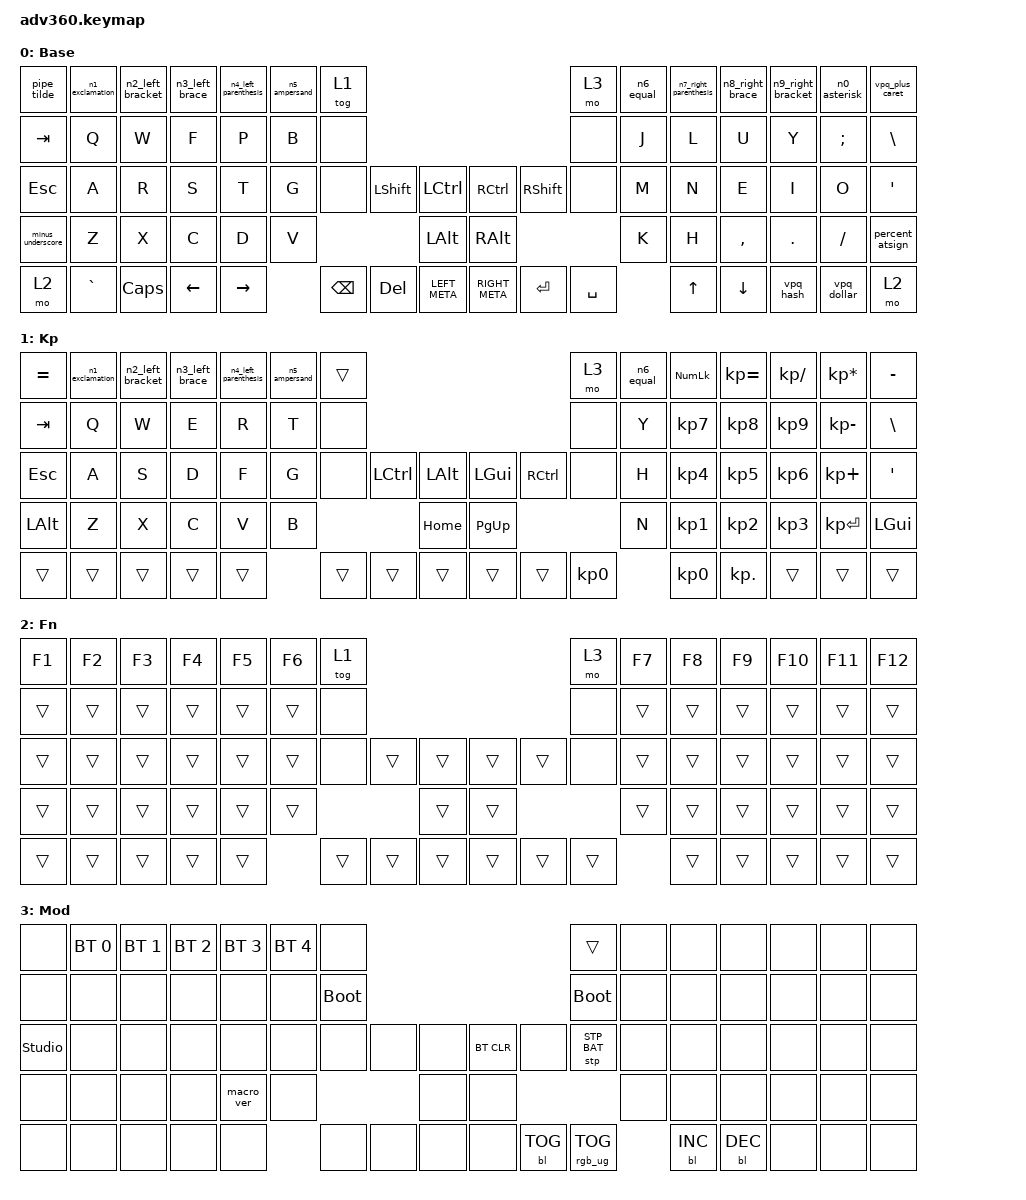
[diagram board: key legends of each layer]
#include <dt-bindings/zmk/stp.h>
#include <behaviors.dtsi>
#include <dt-bindings/zmk/backlight.h>
#include <dt-bindings/zmk/bt.h>
#include <dt-bindings/zmk/keys.h>
#include <dt-bindings/zmk/rgb.h>

/ {
    behaviors {
        #include "macros.dtsi"
        #include "version.dtsi"

        hm: homerow_mods {
            compatible = "zmk,behavior-hold-tap";
            label = "HOMEROW_MODS";
            #binding-cells = <2>;
            tapping-term-ms = <200>;
            quick_tap_ms = <175>;
            flavor = "tap-preferred";
            bindings = <&kp>, <&kp>;
        };

        // Mod‑Morph macros from Glove80

        n1_exclamation: n1_exclamation {
            compatible = "zmk,behavior-mod-morph";
            label = "n1_exclamation";
            #binding-cells = <0>;
            bindings = <&kp EXCLAMATION>, <&kp N1>;

            mods = <(MOD_LSFT|MOD_RSFT)>;
        };

        n2_left_bracket: n2_left_bracket {
            compatible = "zmk,behavior-mod-morph";
            label = "n2_left_bracket";
            #binding-cells = <0>;
            bindings = <&kp LEFT_BRACKET>, <&kp N2>;

            mods = <(MOD_LSFT|MOD_RSFT)>;
        };

        n3_left_brace: n3_left_brace {
            compatible = "zmk,behavior-mod-morph";
            label = "n3_left_brace";
            #binding-cells = <0>;
            bindings = <&kp LEFT_BRACE>, <&kp N3>;

            mods = <(MOD_LSFT|MOD_RSFT)>;
        };

        n4_left_parenthesis: n4_left_parenthesis {
            compatible = "zmk,behavior-mod-morph";
            label = "n4_left_parenthesis";
            #binding-cells = <0>;
            bindings = <&kp LEFT_PARENTHESIS>, <&kp N4>;

            mods = <(MOD_LSFT|MOD_RSFT)>;
        };

        n5_ampersand: n5_ampersand {
            compatible = "zmk,behavior-mod-morph";
            label = "n5_ampersand";
            #binding-cells = <0>;
            bindings = <&kp AMPERSAND>, <&kp N5>;

            mods = <(MOD_LSFT|MOD_RSFT)>;
        };

        n6_equal: n6_equal {
            compatible = "zmk,behavior-mod-morph";
            label = "n6_equal";
            #binding-cells = <0>;
            bindings = <&kp EQUAL>, <&kp N6>;

            mods = <(MOD_LSFT|MOD_RSFT)>;
        };

        n7_right_parenthesis: n7_right_parenthesis {
            compatible = "zmk,behavior-mod-morph";
            label = "n7_right_parenthesis";
            #binding-cells = <0>;
            bindings = <&kp RIGHT_PARENTHESIS>, <&kp N7>;

            mods = <(MOD_LSFT|MOD_RSFT)>;
        };

        n8_right_brace: n8_right_brace {
            compatible = "zmk,behavior-mod-morph";
            label = "n8_right_brace";
            #binding-cells = <0>;
            bindings = <&kp RIGHT_BRACE>, <&kp N8>;

            mods = <(MOD_LSFT|MOD_RSFT)>;
        };

        n9_right_bracket: n9_right_bracket {
            compatible = "zmk,behavior-mod-morph";
            label = "n9_right_bracket";
            #binding-cells = <0>;
            bindings = <&kp RIGHT_BRACKET>, <&kp N9>;

            mods = <(MOD_LSFT|MOD_RSFT)>;
        };

        n0_asterisk: n0_asterisk {
            compatible = "zmk,behavior-mod-morph";
            label = "n0_asterisk";
            #binding-cells = <0>;
            bindings = <&kp ASTERISK>, <&kp N0>;

            mods = <(MOD_LSFT|MOD_RSFT)>;
        };

        vpq_plus_caret: vpq_plus_caret {
            compatible = "zmk,behavior-mod-morph";
            label = "vpq_plus_caret";
            #binding-cells = <0>;
            bindings = <&kp PLUS>, <&kp CARET>;

            mods = <(MOD_LSFT|MOD_RSFT)>;
        };

        vpq_at_sign: vpq_at_sign {
            compatible = "zmk,behavior-mod-morph";
            label = "vpq_at_sign";
            #binding-cells = <0>;
            bindings = <&kp AT_SIGN>, <&kp AT_SIGN>;

            mods = <(MOD_LSFT|MOD_RSFT)>;
        };

        vpq_percent: vpq_percent {
            compatible = "zmk,behavior-mod-morph";
            label = "vpq_percent";
            #binding-cells = <0>;
            bindings = <&kp PERCENT>, <&kp PERCENT>;

            mods = <(MOD_LSFT|MOD_RSFT)>;
        };

        vpq_hash: vpq_hash {
            compatible = "zmk,behavior-mod-morph";
            label = "vpq_hash";
            #binding-cells = <0>;
            bindings = <&kp HASH>, <&kp HASH>;

            mods = <(MOD_LSFT|MOD_RSFT)>;
        };

        vpq_dollar: vpq_dollar {
            compatible = "zmk,behavior-mod-morph";
            label = "vpq_dollar";
            #binding-cells = <0>;
            bindings = <&kp DOLLAR>, <&kp DOLLAR>;

            mods = <(MOD_LSFT|MOD_RSFT)>;
        };

        pipe_tilde: pipe_tilde {
            compatible = "zmk,behavior-mod-morph";
            label = "PIPE_TILDE";
            #binding-cells = <0>;
            bindings = <&kp PIPE>, <&kp TILDE>;

            mods = <(MOD_LSFT|MOD_RSFT)>;
        };

        minus_underscore: minus_underscore {
            compatible = "zmk,behavior-mod-morph";
            label = "MINUS_UNDERSCORE";
            #binding-cells = <0>;
            bindings = <&kp MINUS>, <&kp UNDERSCORE>;

            mods = <(MOD_LSFT|MOD_RSFT)>;
        };

        percent_atsign: percent_atsign {
            compatible = "zmk,behavior-mod-morph";
            label = "PERCENT_ATSIGN";
            #binding-cells = <0>;
            bindings = <&kp PERCENT>, <&kp AT>;

            mods = <(MOD_LSFT|MOD_RSFT)>;
        };
    };

    keymap {
        compatible = "zmk,keymap";

        default_layer {
            display-name = "Base";
            bindings = <
&pipe_tilde        &n1_exclamation  &n2_left_bracket  &n3_left_brace  &n4_left_parenthesis  &n5_ampersand  &tog 1                                                                              &mo 3      &n6_equal  &n7_right_parenthesis  &n8_right_brace  &n9_right_bracket  &n0_asterisk  &vpq_plus_caret
&kp TAB            &kp Q            &kp W             &kp F           &kp P                 &kp B          &none                                                                               &none      &kp J      &kp L                  &kp U            &kp Y              &kp SEMI      &kp BSLH
&kp ESC            &kp A            &kp R             &kp S           &kp T                 &kp G          &none     &kp LEFT_SHIFT  &kp LEFT_CONTROL      &kp RIGHT_CONTROL  &kp RIGHT_SHIFT  &none      &kp M      &kp N                  &kp E            &kp I              &kp O         &kp SQT
&minus_underscore  &kp Z            &kp X             &kp C           &kp D                 &kp V                                    &kp LEFT_ALT          &kp RIGHT_ALT                                  &kp K      &kp H                  &kp COMMA        &kp DOT            &kp FSLH      &percent_atsign
&mo 2              &kp GRAVE        &kp CAPS          &kp LEFT        &kp RIGHT                            &kp BSPC  &kp DEL         &kp LEFT_META         &kp RIGHT_META     &kp ENTER        &kp SPACE             &kp UP                 &kp DOWN         &vpq_hash          &vpq_dollar   &mo 2
            >;
        };

        keypad {
            display-name = "Kp";
            bindings = <
&kp EQUAL  &n1_exclamation  &n2_left_bracket  &n3_left_brace  &n4_left_parenthesis  &n5_ampersand  &trans                                                 &mo 3      &n6_equal  &kp KP_NUM  &kp KP_EQUAL  &kp KP_DIVIDE  &kp KP_MULTIPLY  &kp MINUS
&kp TAB    &kp Q            &kp W             &kp E           &kp R                 &kp T          &none                                                  &none      &kp Y      &kp KP_N7   &kp KP_N8     &kp KP_N9      &kp KP_MINUS     &kp BSLH
&kp ESC    &kp A            &kp S             &kp D           &kp F                 &kp G          &none   &kp LCTRL  &kp LALT      &kp LGUI   &kp RCTRL  &none      &kp H      &kp KP_N4   &kp KP_N5     &kp KP_N6      &kp KP_PLUS      &kp SQT
&kp LALT   &kp Z            &kp X             &kp C           &kp V                 &kp B                             &kp HOME      &kp PG_UP                        &kp N      &kp KP_N1   &kp KP_N2     &kp KP_N3      &kp KP_ENTER     &kp LGUI
&trans     &trans           &trans            &trans          &trans                               &trans  &trans     &trans        &trans     &trans     &kp KP_N0             &kp KP_N0   &kp KP_DOT    &trans         &trans           &trans
            >;
        };

        fn {
            display-name = "Fn";
            bindings = <
&kp F1  &kp F2  &kp F3  &kp F4  &kp F5  &kp F6  &tog 1                                      &mo 3   &kp F7  &kp F8  &kp F9  &kp F10  &kp F11  &kp F12
&trans  &trans  &trans  &trans  &trans  &trans  &none                                       &none   &trans  &trans  &trans  &trans   &trans   &trans
&trans  &trans  &trans  &trans  &trans  &trans  &none   &trans  &trans      &trans  &trans  &none   &trans  &trans  &trans  &trans   &trans   &trans
&trans  &trans  &trans  &trans  &trans  &trans                  &trans      &trans                  &trans  &trans  &trans  &trans   &trans   &trans
&trans  &trans  &trans  &trans  &trans          &trans  &trans  &trans      &trans  &trans  &trans          &trans  &trans  &trans   &trans   &trans
            >;
        };

        mod {
            display-name = "Mod";
            bindings = <
&none           &bt BT_SEL 0  &bt BT_SEL 1  &bt BT_SEL 2  &bt BT_SEL 3  &bt BT_SEL 4  &none                                                  &trans           &none  &none       &none       &none  &none  &none
&none           &none         &none         &none         &none         &none         &bootloader                                            &bootloader      &none  &none       &none       &none  &none  &none
&studio_unlock  &none         &none         &none         &none         &none         &none        &none  &none      &bt BT_CLR  &none       &stp STP_BAT     &none  &none       &none       &none  &none  &none
&none           &none         &none         &none         &macro_ver    &none                             &none      &none                                    &none  &none       &none       &none  &none  &none
&none           &none         &none         &none         &none                       &none        &none  &none      &none       &bl BL_TOG  &rgb_ug RGB_TOG         &bl BL_INC  &bl BL_DEC  &none  &none  &none
            >;
        };

        extra1 {
            display-name = "Red";
            status = "reserved";
        };

        extra2 {
            display-name = "Purple";
            status = "reserved";
        };

        extra3 {
            display-name = "Cyan";
            status = "reserved";
        };

        extra4 {
            display-name = "Yellow";
            status = "reserved";
        };
    };
};
